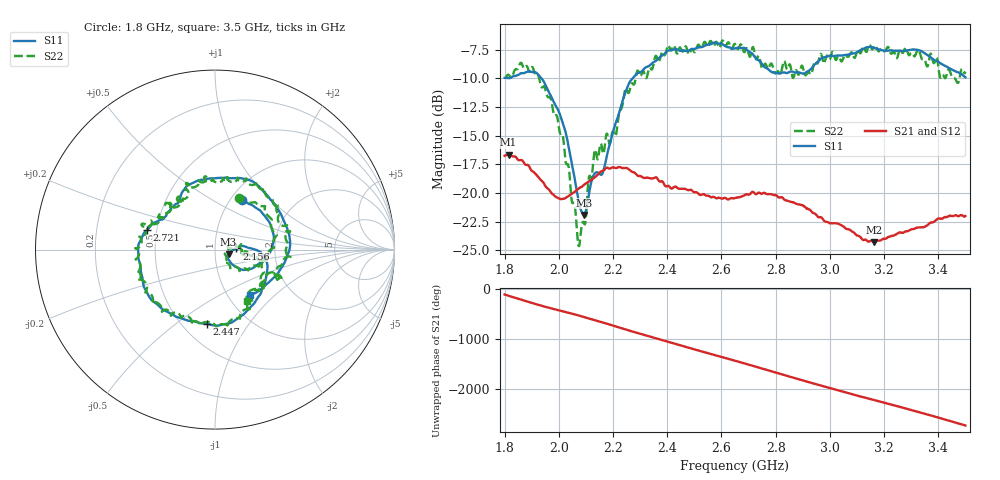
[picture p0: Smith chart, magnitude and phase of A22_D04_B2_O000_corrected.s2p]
! Created with skrf 1.9.0 (http://scikit-rf.org).
# Hz S RI R 50.0
!freq ReS11 ImS11 ReS21 ImS21 ReS12 ImS12 ReS22 ImS22
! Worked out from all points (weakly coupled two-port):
!   1601 points, 1.8 GHz to 3.5 GHz, reference 50 ohm
!   highest |S21| = -16.67 dB at 1.815 GHz (marker M1); lowest = -24.3 dB at 3.163 GHz (marker M2)
!   lowest |S11| = -21.9 dB at 2.092 GHz (marker M3), VSWR 1.17, Z = 58.1 - j3.13 ohm
!   |S11| at or under -10 dB: 1.935 GHz to 2.273 GHz (337.6 MHz wide, 16 % of centre)
!   |S22| runs from -24.6 to -6.7 dB; largest |S21 - S12| = 0.0024
!   S11 on the Smith chart (normalised r, x): 1.8 GHz: 1.13, +0.70; 2.156 GHz: 1.27, +0.02; 2.447 GHz: 0.65, -0.65; 2.721 GHz: 0.44, +0.11; 3.5 GHz: 1.27, -0.71
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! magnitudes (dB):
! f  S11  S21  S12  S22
! 1.8 GHz  -10.0  -16.8  -16.8  -9.9
! 1.815 GHz  -10.0  -16.7  -16.7  -9.7
! 1.903 GHz  -9.5  -18.1  -18.1  -9.0
! 1.968 GHz  -11.4  -19.8  -19.9  -11.7
! 2.015 GHz  -13.9  -20.5  -20.5  -15.0
! 2.071 GHz  -20.4  -19.7  -19.7  -24.4
! 2.084 GHz  -21.6  -19.5  -19.4  -22.9
! 2.092 GHz  -21.9  -19.3  -19.4  -22.6
! 2.13 GHz  -18.4  -18.7  -18.7  -16.5
! 2.156 GHz  -18.4  -18.1  -18.1  -15.7
! 2.209 GHz  -14.0  -17.8  -17.8  -15.0
! 2.258 GHz  -10.5  -17.9  -17.9  -11.3
! 2.367 GHz  -8.3  -18.9  -18.8  -8.5
! 2.447 GHz  -7.6  -19.6  -19.6  -7.3
! 2.65 GHz  -7.4  -20.4  -20.4  -7.0
! 2.721 GHz  -8.1  -20.0  -19.9  -7.7
! 2.802 GHz  -9.5  -20.2  -20.2  -9.5
! 2.934 GHz  -9.1  -21.7  -21.6  -9.5
! 3.163 GHz  -7.3  -24.3  -24.3  -7.2
! 3.217 GHz  -7.6  -23.8  -23.8  -7.4
! 3.468 GHz  -9.4  -22.0  -21.9  -10.3
! 3.5 GHz  -9.9  -22.0  -22.0  -9.4
